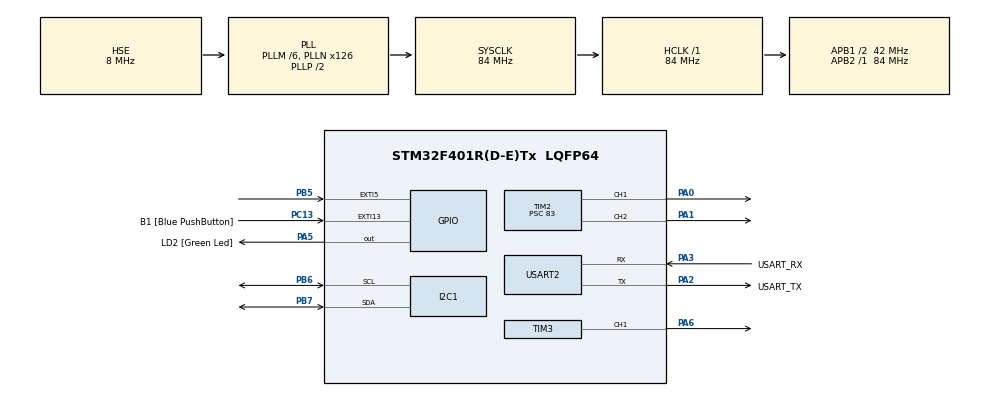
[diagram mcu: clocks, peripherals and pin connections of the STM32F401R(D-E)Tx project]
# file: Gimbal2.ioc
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I2C1.I2C_Mode=I2C_Fast
Mcu.Family=STM32F4
Mcu.Name=STM32F401R(D-E)Tx
Mcu.Package=LQFP64
NVIC.PriorityGroup=NVIC_PRIORITYGROUP_4
PA0-WKUP.Signal=S_TIM2_CH1_ETR
PA1.Signal=S_TIM2_CH2
PA13.GPIO_Label=TMS
PA13.Mode=Trace_Asynchronous_SW
PA13.Signal=SYS_JTMS-SWDIO
PA14.GPIO_Label=TCK
PA14.Mode=Trace_Asynchronous_SW
PA14.Signal=SYS_JTCK-SWCLK
PA2.GPIO_Label=USART_TX
PA2.GPIO_Mode=GPIO_MODE_AF_PP
PA2.GPIO_PuPd=GPIO_NOPULL
PA2.GPIO_Speed=GPIO_SPEED_FREQ_LOW
PA2.Mode=Asynchronous
PA2.Signal=USART2_TX
PA3.GPIO_Label=USART_RX
PA3.GPIO_Mode=GPIO_MODE_AF_PP
PA3.GPIO_PuPd=GPIO_NOPULL
PA3.GPIO_Speed=GPIO_SPEED_FREQ_LOW
PA3.Mode=Asynchronous
PA3.Signal=USART2_RX
PA5.GPIO_Label=LD2 [Green Led]
PA5.GPIO_Mode=GPIO_MODE_OUTPUT_PP
PA5.GPIO_PuPd=GPIO_NOPULL
PA5.GPIO_Speed=GPIO_SPEED_FREQ_LOW
PA5.Signal=GPIO_Output
PA6.Signal=S_TIM3_CH1
PB3.GPIO_Label=SWO
PB3.Mode=Trace_Asynchronous_SW
PB3.Signal=SYS_JTDO-SWO
PB5.Signal=GPXTI5
PB6.Mode=I2C
PB6.Signal=I2C1_SCL
PB7.Mode=I2C
PB7.Signal=I2C1_SDA
PC13-ANTI_TAMP.GPIO_Label=B1 [Blue PushButton]
PC13-ANTI_TAMP.GPIO_ModeDefaultEXTI=GPIO_MODE_IT_FALLING
PC13-ANTI_TAMP.GPIO_PuPd=GPIO_NOPULL
PC13-ANTI_TAMP.Signal=GPXTI13
PC14-OSC32_IN.Mode=LSE-External-Oscillator
PC14-OSC32_IN.Signal=RCC_OSC32_IN
PC15-OSC32_OUT.Mode=LSE-External-Oscillator
PC15-OSC32_OUT.Signal=RCC_OSC32_OUT
PH0\ -\ OSC_IN.Mode=HSE-External-Clock-Source
PH0\ -\ OSC_IN.Signal=RCC_OSC_IN
PH1\ -\ OSC_OUT.Mode=HSE-External-Clock-Source
PH1\ -\ OSC_OUT.Signal=RCC_OSC_OUT
ProjectManager.HeapSize=0x200
ProjectManager.StackSize=0x400
ProjectManager.TargetToolchain=STM32CubeIDE
RCC.48MHZClocksFreq_Value=24000000
RCC.AHBFreq_Value=84000000
RCC.APB1CLKDivider=RCC_HCLK_DIV2
RCC.APB1Freq_Value=42000000
RCC.APB1TimFreq_Value=84000000
RCC.APB2Freq_Value=84000000
RCC.APB2TimFreq_Value=84000000
RCC.CortexFreq_Value=84000000
RCC.HCLKFreq_Value=84000000
RCC.HSE_VALUE=8000000
RCC.HSI_VALUE=16000000
RCC.PLLM=6
RCC.PLLN=126
RCC.PLLQ=7
RCC.PLLSourceVirtual=RCC_PLLSOURCE_HSE
RCC.SYSCLKFreq_VALUE=84000000
RCC.SYSCLKSource=RCC_SYSCLKSOURCE_PLLCLK
RCC.VCOOutputFreq_Value=168000000
SH.S_TIM2_CH1_ETR.0=TIM2_CH1,PWM Generation1 CH1
SH.S_TIM2_CH2.0=TIM2_CH2,PWM Generation2 CH2
SH.S_TIM3_CH1.0=TIM3_CH1,PWM Generation1 CH1
TIM2.Channel-PWM\ Generation1\ CH1=TIM_CHANNEL_1
TIM2.Channel-PWM\ Generation2\ CH2=TIM_CHANNEL_2
TIM2.Period=19999
TIM2.Prescaler=83
TIM2.Pulse-PWM\ Generation1\ CH1=1500
TIM2.Pulse-PWM\ Generation2\ CH2=1500
TIM3.Channel-PWM\ Generation1\ CH1=TIM_CHANNEL_1
TIM3.Period=19999
TIM3.Prescaler=83
TIM3.Pulse-PWM\ Generation1\ CH1=1500
USART2.VirtualMode=VM_ASYNC
board=NUCLEO-F401RE

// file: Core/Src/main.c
/* USER CODE BEGIN Header */
/**
  ******************************************************************************
  * @file           : main.c
  * @brief          : Main program body
  ******************************************************************************
  * @attention
  *
  * Copyright (c) 2025 STMicroelectronics.
  * All rights reserved.
  *
  * This software is licensed under terms that can be found in the LICENSE file
  * in the root directory of this software component.
  * If no LICENSE file comes with this software, it is provided AS-IS.
  *
  ******************************************************************************
  */
/* USER CODE END Header */
#include "main.h"

/* USER CODE BEGIN Includes */
#include "mpu6050.h"
#include "pid.h"
#include "math.h"
#include <stdio.h>

/* USER CODE END Includes */

I2C_HandleTypeDef hi2c1;

TIM_HandleTypeDef htim2;
TIM_HandleTypeDef htim3;

/* USER CODE BEGIN PV */

// Zaman
uint32_t last_tick = 0;
MPU6050_t MPU6050;
// PID ve Kalman yapıları
PID_t pid_pitch, pid_roll, pid_yaw;
/* USER CODE END PV */

void SystemClock_Config(void);
static void MX_GPIO_Init(void);
static void MX_I2C1_Init(void);
static void MX_TIM2_Init(void);
static void MX_TIM3_Init(void);

/* USER CODE BEGIN 0 */
uint16_t map_pwm(float value, float in_min, float in_max, float out_min, float out_max)
{
    if (value < in_min) value = in_min;
    if (value > in_max) value = in_max;
    return (uint16_t)((value - in_min) * (out_max - out_min) / (in_max - in_min) + out_min);
}
/* USER CODE END 0 */

int main(void)
{

  /* MCU Configuration--------------------------------------------------------*/

  /* Reset of all peripherals, Initializes the Flash interface and the Systick. */
  HAL_Init();

  /* Configure the system clock */
  SystemClock_Config();

  /* Initialize all configured peripherals */
  MX_GPIO_Init();
  MX_USART2_UART_Init();
  MX_I2C1_Init();
  MX_TIM2_Init();
  MX_TIM3_Init();
  /* USER CODE BEGIN 2 */
  while (MPU6050_Init(&hi2c1) == 1);

  HAL_TIM_PWM_Start(&htim2, TIM_CHANNEL_1);  // Pitch
  HAL_TIM_PWM_Start(&htim2, TIM_CHANNEL_2);  // Roll
  HAL_TIM_PWM_Start(&htim3, TIM_CHANNEL_1);  // Yaw

  PID_Init(&pid_pitch, 3.0f, 0.0f, 0.1f);
  PID_Init(&pid_roll,  3.0f, 0.0f, 0.1f);
  PID_Init(&pid_yaw,   1.0f, 0.0f, 0.0f);

  pid_pitch.setpoint = 0.0f;
  pid_roll.setpoint  = 0.0f;
  pid_yaw.setpoint   = 0.0f;

  uint32_t last_tick = HAL_GetTick();
  /* USER CODE END 2 */

  /* Infinite loop */
  /* USER CODE BEGIN WHILE */
  while (1)
  {
	  uint32_t now = HAL_GetTick();
	         float dt = (now - last_tick) / 1000.0f;
	         last_tick = now;

	         MPU6050_Read_All(&hi2c1, &MPU6050);

	         float pitch = MPU6050.KalmanAngleX;
	         float roll  = MPU6050.KalmanAngleY;
	         float yaw   = MPU6050.Gz / 131.0f; // raw gyro z ekseni

	         float out_pitch = PID_Compute(&pid_pitch, pitch, dt);
	         float out_roll  = PID_Compute(&pid_roll,  roll,  dt);
	         float out_yaw   = PID_Compute(&pid_yaw,   yaw,   dt);

	         uint16_t pwm_pitch = map_pwm(out_pitch, -45, 45, 500, 2500);
	         uint16_t pwm_roll  = map_pwm(out_roll,  -45, 45, 500, 2500);
	         uint16_t pwm_yaw   = map_pwm(out_yaw,   -45, 45, 500, 2500);

	         __HAL_TIM_SET_COMPARE(&htim2, TIM_CHANNEL_1, pwm_yaw);
	         __HAL_TIM_SET_COMPARE(&htim2, TIM_CHANNEL_2, pwm_pitch);
	         __HAL_TIM_SET_COMPARE(&htim3, TIM_CHANNEL_1, pwm_roll);

	         HAL_Delay(10);
	          }

    /* USER CODE END WHILE */

  }

void SystemClock_Config(void)
{
  RCC_OscInitTypeDef RCC_OscInitStruct = {0};
  RCC_ClkInitTypeDef RCC_ClkInitStruct = {0};

  /** Configure the main internal regulator output voltage
  */
  __HAL_RCC_PWR_CLK_ENABLE();
  __HAL_PWR_VOLTAGESCALING_CONFIG(PWR_REGULATOR_VOLTAGE_SCALE2);

  /** Initializes the RCC Oscillators according to the specified parameters
  * in the RCC_OscInitTypeDef structure.
  */
  RCC_OscInitStruct.OscillatorType = RCC_OSCILLATORTYPE_HSE;
  RCC_OscInitStruct.HSEState = RCC_HSE_BYPASS;
  RCC_OscInitStruct.PLL.PLLState = RCC_PLL_ON;
  RCC_OscInitStruct.PLL.PLLSource = RCC_PLLSOURCE_HSE;
  RCC_OscInitStruct.PLL.PLLM = 6;
  RCC_OscInitStruct.PLL.PLLN = 126;
  RCC_OscInitStruct.PLL.PLLP = RCC_PLLP_DIV2;
  RCC_OscInitStruct.PLL.PLLQ = 7;
  if (HAL_RCC_OscConfig(&RCC_OscInitStruct) != HAL_OK)
  {
    Error_Handler();
  }

  /** Initializes the CPU, AHB and APB buses clocks
  */
  RCC_ClkInitStruct.ClockType = RCC_CLOCKTYPE_HCLK|RCC_CLOCKTYPE_SYSCLK
                              |RCC_CLOCKTYPE_PCLK1|RCC_CLOCKTYPE_PCLK2;
  RCC_ClkInitStruct.SYSCLKSource = RCC_SYSCLKSOURCE_PLLCLK;
  RCC_ClkInitStruct.AHBCLKDivider = RCC_SYSCLK_DIV1;
  RCC_ClkInitStruct.APB1CLKDivider = RCC_HCLK_DIV2;
  RCC_ClkInitStruct.APB2CLKDivider = RCC_HCLK_DIV1;

  if (HAL_RCC_ClockConfig(&RCC_ClkInitStruct, FLASH_LATENCY_2) != HAL_OK)
  {
    Error_Handler();
  }
}

static void MX_I2C1_Init(void)
{

  hi2c1.Instance = I2C1;
  hi2c1.Init.ClockSpeed = 400000;
  hi2c1.Init.DutyCycle = I2C_DUTYCYCLE_2;
  hi2c1.Init.OwnAddress1 = 0;
  hi2c1.Init.AddressingMode = I2C_ADDRESSINGMODE_7BIT;
  hi2c1.Init.DualAddressMode = I2C_DUALADDRESS_DISABLE;
  hi2c1.Init.OwnAddress2 = 0;
  hi2c1.Init.GeneralCallMode = I2C_GENERALCALL_DISABLE;
  hi2c1.Init.NoStretchMode = I2C_NOSTRETCH_DISABLE;
  if (HAL_I2C_Init(&hi2c1) != HAL_OK)
  {
    Error_Handler();
  }

}

static void MX_TIM2_Init(void)
{

  TIM_MasterConfigTypeDef sMasterConfig = {0};
  TIM_OC_InitTypeDef sConfigOC = {0};

  htim2.Instance = TIM2;
  htim2.Init.Prescaler = 83;
  htim2.Init.CounterMode = TIM_COUNTERMODE_UP;
  htim2.Init.Period = 19999;
  htim2.Init.ClockDivision = TIM_CLOCKDIVISION_DIV1;
  htim2.Init.AutoReloadPreload = TIM_AUTORELOAD_PRELOAD_DISABLE;
  if (HAL_TIM_PWM_Init(&htim2) != HAL_OK)
  {
    Error_Handler();
  }
  sMasterConfig.MasterOutputTrigger = TIM_TRGO_RESET;
  sMasterConfig.MasterSlaveMode = TIM_MASTERSLAVEMODE_DISABLE;
  if (HAL_TIMEx_MasterConfigSynchronization(&htim2, &sMasterConfig) != HAL_OK)
  {
    Error_Handler();
  }
  sConfigOC.OCMode = TIM_OCMODE_PWM1;
  sConfigOC.Pulse = 1500;
  sConfigOC.OCPolarity = TIM_OCPOLARITY_HIGH;
  sConfigOC.OCFastMode = TIM_OCFAST_DISABLE;
  if (HAL_TIM_PWM_ConfigChannel(&htim2, &sConfigOC, TIM_CHANNEL_1) != HAL_OK)
  {
    Error_Handler();
  }
  if (HAL_TIM_PWM_ConfigChannel(&htim2, &sConfigOC, TIM_CHANNEL_2) != HAL_OK)
  {
    Error_Handler();
  }
  HAL_TIM_MspPostInit(&htim2);

}

static void MX_TIM3_Init(void)
{

  TIM_MasterConfigTypeDef sMasterConfig = {0};
  TIM_OC_InitTypeDef sConfigOC = {0};

  htim3.Instance = TIM3;
  htim3.Init.Prescaler = 83;
  htim3.Init.CounterMode = TIM_COUNTERMODE_UP;
  htim3.Init.Period = 19999;
  htim3.Init.ClockDivision = TIM_CLOCKDIVISION_DIV1;
  htim3.Init.AutoReloadPreload = TIM_AUTORELOAD_PRELOAD_DISABLE;
  if (HAL_TIM_PWM_Init(&htim3) != HAL_OK)
  {
    Error_Handler();
  }
  sMasterConfig.MasterOutputTrigger = TIM_TRGO_RESET;
  sMasterConfig.MasterSlaveMode = TIM_MASTERSLAVEMODE_DISABLE;
  if (HAL_TIMEx_MasterConfigSynchronization(&htim3, &sMasterConfig) != HAL_OK)
  {
    Error_Handler();
  }
  sConfigOC.OCMode = TIM_OCMODE_PWM1;
  sConfigOC.Pulse = 1500;
  sConfigOC.OCPolarity = TIM_OCPOLARITY_HIGH;
  sConfigOC.OCFastMode = TIM_OCFAST_DISABLE;
  if (HAL_TIM_PWM_ConfigChannel(&htim3, &sConfigOC, TIM_CHANNEL_1) != HAL_OK)
  {
    Error_Handler();
  }
  HAL_TIM_MspPostInit(&htim3);

}

static void MX_USART2_UART_Init(void)
{

  huart2.Instance = USART2;
  huart2.Init.BaudRate = 115200;
  huart2.Init.WordLength = UART_WORDLENGTH_8B;
  huart2.Init.StopBits = UART_STOPBITS_1;
  huart2.Init.Parity = UART_PARITY_NONE;
  huart2.Init.Mode = UART_MODE_TX_RX;
  huart2.Init.HwFlowCtl = UART_HWCONTROL_NONE;
  huart2.Init.OverSampling = UART_OVERSAMPLING_16;
  if (HAL_UART_Init(&huart2) != HAL_OK)
  {
    Error_Handler();
  }

}

static void MX_GPIO_Init(void)
{
  GPIO_InitTypeDef GPIO_InitStruct = {0};

  /* GPIO Ports Clock Enable */
  __HAL_RCC_GPIOC_CLK_ENABLE();
  __HAL_RCC_GPIOH_CLK_ENABLE();
  __HAL_RCC_GPIOA_CLK_ENABLE();
  __HAL_RCC_GPIOB_CLK_ENABLE();

  /*Configure GPIO pin Output Level */
  HAL_GPIO_WritePin(LD2_GPIO_Port, LD2_Pin, GPIO_PIN_RESET);

  /*Configure GPIO pin : B1_Pin */
  GPIO_InitStruct.Pin = B1_Pin;
  GPIO_InitStruct.Mode = GPIO_MODE_IT_FALLING;
  GPIO_InitStruct.Pull = GPIO_NOPULL;
  HAL_GPIO_Init(B1_GPIO_Port, &GPIO_InitStruct);

  /*Configure GPIO pin : LD2_Pin */
  GPIO_InitStruct.Pin = LD2_Pin;
  GPIO_InitStruct.Mode = GPIO_MODE_OUTPUT_PP;
  GPIO_InitStruct.Pull = GPIO_NOPULL;
  GPIO_InitStruct.Speed = GPIO_SPEED_FREQ_LOW;
  HAL_GPIO_Init(LD2_GPIO_Port, &GPIO_InitStruct);

  /*Configure GPIO pin : PB5 */
  GPIO_InitStruct.Pin = GPIO_PIN_5;
  GPIO_InitStruct.Mode = GPIO_MODE_IT_RISING;
  GPIO_InitStruct.Pull = GPIO_NOPULL;
  HAL_GPIO_Init(GPIOB, &GPIO_InitStruct);

}

void Error_Handler(void)
{
  __disable_irq();
  while (1)
  {
  }
}
